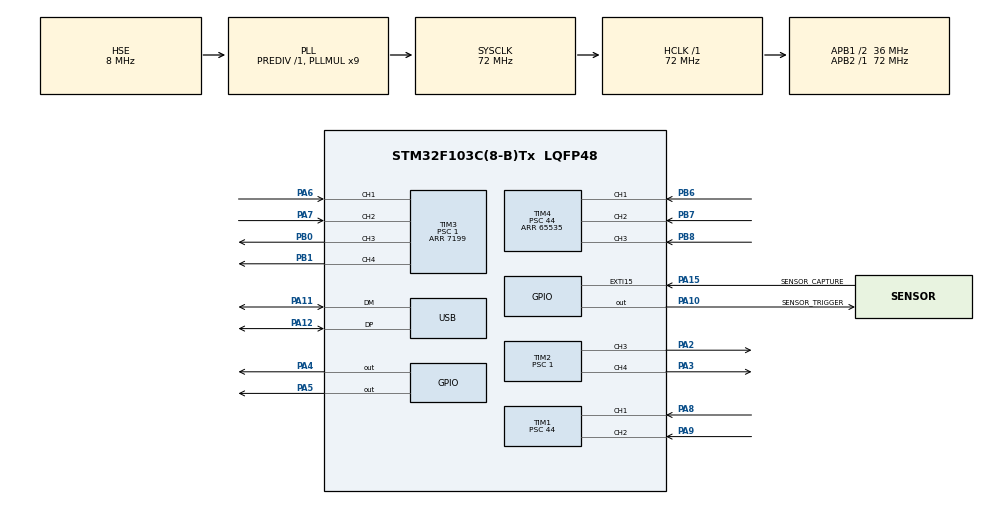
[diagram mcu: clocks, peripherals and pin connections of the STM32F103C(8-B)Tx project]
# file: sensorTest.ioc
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FREERTOS.INCLUDE_eTaskGetState=1
FREERTOS.INCLUDE_pcTaskGetTaskName=1
FREERTOS.INCLUDE_uxTaskGetStackHighWaterMark=1
FREERTOS.INCLUDE_vTaskDelayUntil=1
FREERTOS.INCLUDE_xQueueGetMutexHolder=1
FREERTOS.INCLUDE_xSemaphoreGetMutexHolder=1
FREERTOS.INCLUDE_xTaskAbortDelay=1
FREERTOS.INCLUDE_xTaskGetCurrentTaskHandle=1
FREERTOS.INCLUDE_xTaskGetHandle=1
FREERTOS.Tasks01=motorResults,0,64,StartLogTask,Default,NULL,Dynamic,NULL,NULL;pwmControl,-3,64,StartPWMTask,Default,NULL,Dynamic,NULL,NULL
FREERTOS.configMINIMAL_STACK_SIZE=64
FREERTOS.configTICK_RATE_HZ=100
FREERTOS.configUSE_CO_ROUTINES=0
Mcu.Family=STM32F1
Mcu.Name=STM32F103C(8-B)Tx
Mcu.Package=LQFP48
NVIC.EXTI15_10_IRQn=true\:5\:0\:false\:false\:true\:true\:true
NVIC.PriorityGroup=NVIC_PRIORITYGROUP_4
NVIC.TIM4_IRQn=true\:5\:0\:false\:false\:true\:true\:true
NVIC.USB_LP_CAN1_RX0_IRQn=true\:5\:0\:false\:false\:true\:true\:false
PA10.GPIO_Label=SENSOR_TRIGGER
PA10.Signal=GPIO_Output
PA11.Mode=Device
PA11.Signal=USB_DM
PA12.Mode=Device
PA12.Signal=USB_DP
PA13.Mode=Serial_Wire
PA13.Signal=SYS_JTMS-SWDIO
PA14.Mode=Serial_Wire
PA14.Signal=SYS_JTCK-SWCLK
PA15.GPIO_Label=SENSOR_CAPTURE
PA15.GPIO_ModeDefaultEXTI=GPIO_MODE_IT_RISING
PA15.Signal=GPXTI15
PA2.Signal=S_TIM2_CH3
PA3.Signal=S_TIM2_CH4
PA4.Signal=GPIO_Output
PA5.Signal=GPIO_Output
PA6.Signal=S_TIM3_CH1
PA7.Signal=S_TIM3_CH2
PA8.Signal=S_TIM1_CH1
PA9.Signal=S_TIM1_CH2
PB0.Signal=S_TIM3_CH3
PB1.Signal=S_TIM3_CH4
PB6.Signal=S_TIM4_CH1
PB7.Signal=S_TIM4_CH2
PB8.Signal=S_TIM4_CH3
PD0-OSC_IN.Mode=HSE-External-Oscillator
PD0-OSC_IN.Signal=RCC_OSC_IN
PD1-OSC_OUT.Mode=HSE-External-Oscillator
PD1-OSC_OUT.Signal=RCC_OSC_OUT
ProjectManager.HeapSize=0x200
ProjectManager.StackSize=0x400
ProjectManager.TargetToolchain=TrueSTUDIO
RCC.AHBFreq_Value=72000000
RCC.APB1CLKDivider=RCC_HCLK_DIV2
RCC.APB1Freq_Value=36000000
RCC.APB1TimFreq_Value=72000000
RCC.APB2Freq_Value=72000000
RCC.APB2TimFreq_Value=72000000
RCC.HCLKFreq_Value=72000000
RCC.PLLMUL=RCC_PLL_MUL9
RCC.PLLSourceVirtual=RCC_PLLSOURCE_HSE
RCC.SYSCLKFreq_VALUE=72000000
RCC.SYSCLKSource=RCC_SYSCLKSOURCE_PLLCLK
RCC.USBFreq_Value=48000000
RCC.USBPrescaler=RCC_USBCLKSOURCE_PLL_DIV1_5
SH.S_TIM1_CH1.0=TIM1_CH1,Input_Capture1_from_TI1
SH.S_TIM1_CH2.0=TIM1_CH2,Input_Capture2_from_TI2
SH.S_TIM2_CH3.0=TIM2_CH3,PWM Generation3 CH3
SH.S_TIM2_CH4.0=TIM2_CH4,PWM Generation4 CH4
SH.S_TIM3_CH1.0=TIM3_CH1,Encoder_Interface
SH.S_TIM3_CH2.0=TIM3_CH2,Encoder_Interface
SH.S_TIM3_CH3.0=TIM3_CH3,PWM Generation3 CH3
SH.S_TIM3_CH4.0=TIM3_CH4,PWM Generation4 CH4
SH.S_TIM4_CH1.0=TIM4_CH1,Input_Capture1_from_TI1
SH.S_TIM4_CH2.0=TIM4_CH2,Input_Capture2_from_TI2
SH.S_TIM4_CH3.0=TIM4_CH3,Input_Capture3_from_TI3
TIM1.Channel-Input_Capture1_from_TI1=TIM_CHANNEL_1
TIM1.Channel-Input_Capture2_from_TI2=TIM_CHANNEL_2
TIM1.ICFilter_CH1=10
TIM1.ICFilter_CH2=10
TIM1.ICPolarity_CH1=TIM_INPUTCHANNELPOLARITY_FALLING
TIM1.ICPolarity_CH2=TIM_INPUTCHANNELPOLARITY_FALLING
TIM1.Period=65535
TIM1.Prescaler=44
TIM2.Channel-PWM\ Generation3\ CH3=TIM_CHANNEL_3
TIM2.Channel-PWM\ Generation4\ CH4=TIM_CHANNEL_4
TIM2.Period=7199
TIM2.Prescaler=1
TIM3.Channel-PWM\ Generation3\ CH3=TIM_CHANNEL_3
TIM3.Channel-PWM\ Generation4\ CH4=TIM_CHANNEL_4
TIM3.Period=7199
TIM3.Prescaler=1
TIM4.Channel-Input_Capture1_from_TI1=TIM_CHANNEL_1
TIM4.Channel-Input_Capture2_from_TI2=TIM_CHANNEL_2
TIM4.Channel-Input_Capture3_from_TI3=TIM_CHANNEL_3
TIM4.Channel-PWM\ Generation4\ No\ Output=TIM_CHANNEL_4
TIM4.ICFilter_CH1=10
TIM4.ICFilter_CH3=10
TIM4.ICPolarity_CH1=TIM_INPUTCHANNELPOLARITY_FALLING
TIM4.ICPolarity_CH2=TIM_INPUTCHANNELPOLARITY_FALLING
TIM4.ICPolarity_CH3=TIM_INPUTCHANNELPOLARITY_FALLING
TIM4.Period=65535
TIM4.Prescaler=44
TIM4.Pulse-PWM\ Generation4\ No\ Output=16
USB_DEVICE.CLASS_NAME_FS=CDC
USB_DEVICE.VirtualMode=Cdc
USB_DEVICE.VirtualModeFS=Cdc_FS
VP_FREERTOS_VS_ENABLE.Mode=Enabled
VP_TIM4_VS_no_output4.Mode=PWM Generation4 No Output
VP_USB_DEVICE_VS_USB_DEVICE_CDC_FS.Mode=CDC_FS
board=custom

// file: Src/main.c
/* USER CODE BEGIN Header */
/**
 ******************************************************************************
 * @file           : main.c
 * @brief          : Main program body
 ******************************************************************************
 * This notice applies to any and all portions of this file
 * that are not between comment pairs USER CODE BEGIN and
 * USER CODE END. Other portions of this file, whether
 * inserted by the user or by software development tools
 * are owned by their respective copyright owners.
 *
 * Copyright (c) 2018 STMicroelectronics International N.V.
 * All rights reserved.
 *
 * Redistribution and use in source and binary forms, with or without
 * modification, are permitted, provided that the following conditions are met:
 *
 * 1. Redistribution of source code must retain the above copyright notice,
 *    this list of conditions and the following disclaimer.
 * 2. Redistributions in binary form must reproduce the above copyright notice,
 *    this list of conditions and the following disclaimer in the documentation
 *    and/or other materials provided with the distribution.
 * 3. Neither the name of STMicroelectronics nor the names of other
 *    contributors to this software may be used to endorse or promote products
 *    derived from this software without specific written permission.
 * 4. This software, including modifications and/or derivative works of this
 *    software, must execute solely and exclusively on microcontroller or
 *    microprocessor devices manufactured by or for STMicroelectronics.
 * 5. Redistribution and use of this software other than as permitted under
 *    this license is void and will automatically terminate your rights under
 *    this license.
 *
 * THIS SOFTWARE IS PROVIDED BY STMICROELECTRONICS AND CONTRIBUTORS "AS IS"
 * AND ANY EXPRESS, IMPLIED OR STATUTORY WARRANTIES, INCLUDING, BUT NOT
 * LIMITED TO, THE IMPLIED WARRANTIES OF MERCHANTABILITY, FITNESS FOR A
 * PARTICULAR PURPOSE AND NON-INFRINGEMENT OF THIRD PARTY INTELLECTUAL PROPERTY
 * RIGHTS ARE DISCLAIMED TO THE FULLEST EXTENT PERMITTED BY LAW. IN NO EVENT
 * SHALL STMICROELECTRONICS OR CONTRIBUTORS BE LIABLE FOR ANY DIRECT, INDIRECT,
 * INCIDENTAL, SPECIAL, EXEMPLARY, OR CONSEQUENTIAL DAMAGES (INCLUDING, BUT NOT
 * LIMITED TO, PROCUREMENT OF SUBSTITUTE GOODS OR SERVICES; LOSS OF USE, DATA,
 * OR PROFITS; OR BUSINESS INTERRUPTION) HOWEVER CAUSED AND ON ANY THEORY OF
 * LIABILITY, WHETHER IN CONTRACT, STRICT LIABILITY, OR TORT (INCLUDING
 * NEGLIGENCE OR OTHERWISE) ARISING IN ANY WAY OUT OF THE USE OF THIS SOFTWARE,
 * EVEN IF ADVISED OF THE POSSIBILITY OF SUCH DAMAGE.
 *
 ******************************************************************************
 */
/* USER CODE END Header */

#include "main.h"
#include "cmsis_os.h"
#include "tim.h"
#include "usb_device.h"
#include "gpio.h"

/* USER CODE BEGIN Includes */
#include "usbd_cdc_if.h"
#include "stm32f1xx_hal.h"
#include "dataHelp.h"

/* USER CODE END Includes */

/* USER CODE BEGIN PV */
/* Private variables ---------------------------------------------------------*/

volatile int32_t encoder;
volatile int32_t sample;
volatile int32_t sampleOld;

volatile SerialInput command;

uint32_t startTime;
uint32_t sampleTime;
volatile Data dataOut;
/* USER CODE END PV */

void SystemClock_Config(void);
void MX_FREERTOS_Init(void);
/* USER CODE BEGIN PFP */
/* Private function prototypes -----------------------------------------------*/

/* USER CODE END PFP */

int main(void)
{

	/* MCU Configuration--------------------------------------------------------*/

	/* Reset of all peripherals, Initializes the Flash interface and the Systick. */
	HAL_Init();

	/* Configure the system clock */
	SystemClock_Config();

	/* Initialize all configured peripherals */
	MX_GPIO_Init();
	MX_TIM4_Init();
	MX_TIM1_Init();
	MX_TIM2_Init();
	MX_TIM3_Init();
	/* USER CODE BEGIN 2 */
	HAL_TIM_Base_Start_IT(&htim4);

	HAL_GPIO_WritePin(SENSOR_TRIGGER_GPIO_Port, SENSOR_TRIGGER_Pin, GPIO_PIN_RESET);
	HAL_TIM_IC_Init(&htim1);
	HAL_TIM_IC_Init(&htim4);

	HAL_TIM_IC_Start(&htim1,TIM_CHANNEL_1);
	HAL_TIM_IC_Start(&htim1,TIM_CHANNEL_2);
	HAL_TIM_IC_Start(&htim4,TIM_CHANNEL_1);
	HAL_TIM_IC_Start(&htim4,TIM_CHANNEL_2);
	HAL_TIM_IC_Start(&htim4,TIM_CHANNEL_3);

	HAL_TIM_PWM_Init(&htim4);
	//  HAL_TIM_PWM_Start_IT(&htim4,TIM_CHANNEL_4);

	/* Init for motor and encoder */
	HAL_TIM_PWM_Init(&htim2);
	HAL_TIM_PWM_Init(&htim3);
	HAL_TIM_PWM_Start(&htim2,TIM_CHANNEL_3);
	HAL_TIM_PWM_Start(&htim2,TIM_CHANNEL_4);
	HAL_TIM_PWM_Start(&htim3,TIM_CHANNEL_3);
	HAL_TIM_PWM_Start(&htim3,TIM_CHANNEL_4);
	/* USER CODE END 2 */

	/* Call init function for freertos objects (in freertos.c) */
	MX_FREERTOS_Init();

	/* Start scheduler */
	osKernelStart();

	/* We should never get here as control is now taken by the scheduler */

	/* Infinite loop */
	while (1)
	{

	}
}

void SystemClock_Config(void)
{
	RCC_OscInitTypeDef RCC_OscInitStruct = {0};
	RCC_ClkInitTypeDef RCC_ClkInitStruct = {0};
	RCC_PeriphCLKInitTypeDef PeriphClkInit = {0};

	/**Initializes the CPU, AHB and APB busses clocks
	 */
	RCC_OscInitStruct.OscillatorType = RCC_OSCILLATORTYPE_HSE;
	RCC_OscInitStruct.HSEState = RCC_HSE_ON;
	RCC_OscInitStruct.HSEPredivValue = RCC_HSE_PREDIV_DIV1;
	RCC_OscInitStruct.HSIState = RCC_HSI_ON;
	RCC_OscInitStruct.PLL.PLLState = RCC_PLL_ON;
	RCC_OscInitStruct.PLL.PLLSource = RCC_PLLSOURCE_HSE;
	RCC_OscInitStruct.PLL.PLLMUL = RCC_PLL_MUL9;
	if (HAL_RCC_OscConfig(&RCC_OscInitStruct) != HAL_OK)
	{
		Error_Handler();
	}
	/**Initializes the CPU, AHB and APB busses clocks
	 */
	RCC_ClkInitStruct.ClockType = RCC_CLOCKTYPE_HCLK|RCC_CLOCKTYPE_SYSCLK
			|RCC_CLOCKTYPE_PCLK1|RCC_CLOCKTYPE_PCLK2;
	RCC_ClkInitStruct.SYSCLKSource = RCC_SYSCLKSOURCE_PLLCLK;
	RCC_ClkInitStruct.AHBCLKDivider = RCC_SYSCLK_DIV1;
	RCC_ClkInitStruct.APB1CLKDivider = RCC_HCLK_DIV2;
	RCC_ClkInitStruct.APB2CLKDivider = RCC_HCLK_DIV1;

	if (HAL_RCC_ClockConfig(&RCC_ClkInitStruct, FLASH_LATENCY_2) != HAL_OK)
	{
		Error_Handler();
	}
	PeriphClkInit.PeriphClockSelection = RCC_PERIPHCLK_USB;
	PeriphClkInit.UsbClockSelection = RCC_USBCLKSOURCE_PLL_DIV1_5;
	if (HAL_RCCEx_PeriphCLKConfig(&PeriphClkInit) != HAL_OK)
	{
		Error_Handler();
	}
}

/* USER CODE BEGIN 4 */
void HAL_TIM_PWM_PulseFinishedCallback(TIM_HandleTypeDef *htim) {
	if (htim->Instance == htim4.Instance
			&&__HAL_TIM_GET_COMPARE(&htim4,TIM_CHANNEL_4) == 16) {
		HAL_GPIO_WritePin(SENSOR_TRIGGER_GPIO_Port,SENSOR_TRIGGER_Pin,GPIO_PIN_RESET);

		HAL_TIM_PWM_Stop_IT(&htim4,TIM_CHANNEL_4);
		__HAL_TIM_SET_COMPARE(&htim4,TIM_CHANNEL_4,0);
	}
	else if (htim->Instance == htim4.Instance
			&&__HAL_TIM_GET_COMPARE(&htim4,TIM_CHANNEL_4) == 65535) {

		dataOut.time = sizeof(Data);
		dataOut.position1 = -1;
		dataOut.position2 = -1;
		dataOut.distance[0] = htim1.Instance->CCR1;
		dataOut.distance[1] = htim1.Instance->CCR2;
		dataOut.distance[2] = htim4.Instance->CCR1;
		dataOut.distance[3] = htim4.Instance->CCR2;
		dataOut.distance[4] = htim4.Instance->CCR3;

		CDC_Transmit_FS((uint8_t *)&dataOut,sizeof(dataOut));

		HAL_TIM_PWM_Stop_IT(&htim4,TIM_CHANNEL_4);;
		__HAL_TIM_SET_COMPARE(&htim4,TIM_CHANNEL_4,16);
	}
}

void HAL_GPIO_EXTI_Callback(uint16_t GPIO_Pin)
{
	__HAL_TIM_SET_COUNTER(&htim1,0);
	__HAL_TIM_SET_COUNTER(&htim4,0);

	__HAL_TIM_SET_COMPARE(&htim4,TIM_CHANNEL_4,65535);
	HAL_TIM_PWM_Start_IT(&htim4,TIM_CHANNEL_4);
}
/* USER CODE END 4 */

void Error_Handler(void)
{
	while(1)
	{
	}
}

/************************ (C) COPYRIGHT STMicroelectronics *****END OF FILE****/

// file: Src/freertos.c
/* USER CODE BEGIN Header */
/**
  ******************************************************************************
  * File Name          : freertos.c
  * Description        : Code for freertos applications
  ******************************************************************************
  * This notice applies to any and all portions of this file
  * that are not between comment pairs USER CODE BEGIN and
  * USER CODE END. Other portions of this file, whether
  * inserted by the user or by software development tools
  * are owned by their respective copyright owners.
  *
  * Copyright (c) 2018 STMicroelectronics International N.V.
  * All rights reserved.
  *
  * Redistribution and use in source and binary forms, with or without
  * modification, are permitted, provided that the following conditions are met:
  *
  * 1. Redistribution of source code must retain the above copyright notice,
  *    this list of conditions and the following disclaimer.
  * 2. Redistributions in binary form must reproduce the above copyright notice,
  *    this list of conditions and the following disclaimer in the documentation
  *    and/or other materials provided with the distribution.
  * 3. Neither the name of STMicroelectronics nor the names of other
  *    contributors to this software may be used to endorse or promote products
  *    derived from this software without specific written permission.
  * 4. This software, including modifications and/or derivative works of this
  *    software, must execute solely and exclusively on microcontroller or
  *    microprocessor devices manufactured by or for STMicroelectronics.
  * 5. Redistribution and use of this software other than as permitted under
  *    this license is void and will automatically terminate your rights under
  *    this license.
  *
  * THIS SOFTWARE IS PROVIDED BY STMICROELECTRONICS AND CONTRIBUTORS "AS IS"
  * AND ANY EXPRESS, IMPLIED OR STATUTORY WARRANTIES, INCLUDING, BUT NOT
  * LIMITED TO, THE IMPLIED WARRANTIES OF MERCHANTABILITY, FITNESS FOR A
  * PARTICULAR PURPOSE AND NON-INFRINGEMENT OF THIRD PARTY INTELLECTUAL PROPERTY
  * RIGHTS ARE DISCLAIMED TO THE FULLEST EXTENT PERMITTED BY LAW. IN NO EVENT
  * SHALL STMICROELECTRONICS OR CONTRIBUTORS BE LIABLE FOR ANY DIRECT, INDIRECT,
  * INCIDENTAL, SPECIAL, EXEMPLARY, OR CONSEQUENTIAL DAMAGES (INCLUDING, BUT NOT
  * LIMITED TO, PROCUREMENT OF SUBSTITUTE GOODS OR SERVICES; LOSS OF USE, DATA,
  * OR PROFITS; OR BUSINESS INTERRUPTION) HOWEVER CAUSED AND ON ANY THEORY OF
  * LIABILITY, WHETHER IN CONTRACT, STRICT LIABILITY, OR TORT (INCLUDING
  * NEGLIGENCE OR OTHERWISE) ARISING IN ANY WAY OUT OF THE USE OF THIS SOFTWARE,
  * EVEN IF ADVISED OF THE POSSIBILITY OF SUCH DAMAGE.
  *
  ******************************************************************************
  */
/* USER CODE END Header */

#include "FreeRTOS.h"
#include "task.h"
#include "main.h"
#include "cmsis_os.h"

/* USER CODE BEGIN Includes */
#include "usbd_cdc_if.h"
#include "stm32f1xx_hal.h"
#include "dataHelp.h"

/* USER CODE END Includes */

/* USER CODE BEGIN Variables */
extern volatile SerialInput command;
extern TIM_HandleTypeDef htim1;
extern TIM_HandleTypeDef htim2;
extern TIM_HandleTypeDef htim3;
extern TIM_HandleTypeDef htim4;

extern char stringOut[40];
extern volatile int32_t encoder;
extern volatile int32_t sample;
extern volatile int32_t sampleOld;

extern volatile int16_t pwmOutput;
extern volatile SerialInput command;

extern uint32_t startTime;
extern uint32_t sampleTime;
extern Data dataOut;

/* USER CODE END Variables */
osThreadId motorResultsHandle;
osThreadId pwmControlHandle;

void StartLogTask(void const * argument);
void StartPWMTask(void const * argument);

extern void MX_USB_DEVICE_Init(void);
void MX_FREERTOS_Init(void); /* (MISRA C 2004 rule 8.1) */

void MX_FREERTOS_Init(void) {

  /* Create the thread(s) */
  /* definition and creation of motorResults */
  osThreadDef(motorResults, StartLogTask, osPriorityNormal, 0, 64);
  motorResultsHandle = osThreadCreate(osThread(motorResults), NULL);

  /* definition and creation of pwmControl */
  osThreadDef(pwmControl, StartPWMTask, osPriorityIdle, 0, 64);
  pwmControlHandle = osThreadCreate(osThread(pwmControl), NULL);

}

void StartLogTask(void const * argument)
{
  /* init code for USB_DEVICE */
  MX_USB_DEVICE_Init();

  /* USER CODE BEGIN StartLogTask */
	uint32_t notifyValue;
	TickType_t xLastWakeTime;
	const TickType_t xPeriod = pdMS_TO_TICKS( 100 );
	xLastWakeTime = xTaskGetTickCount();
	/* Infinite loop */
	for(;;)
	{
		xTaskNotifyWait(pdFALSE, Sensor_Start, &notifyValue, portMAX_DELAY);

		if ((notifyValue & Sensor_Start) == Sensor_Start) {
			notifyValue = 0;
			xLastWakeTime = xTaskGetTickCount();
			while (1) {
				vTaskDelayUntil( &xLastWakeTime, xPeriod );
				HAL_GPIO_WritePin(SENSOR_TRIGGER_GPIO_Port,SENSOR_TRIGGER_Pin,GPIO_PIN_SET);
				HAL_TIM_PWM_Start_IT(&htim4,TIM_CHANNEL_4);
				xTaskNotifyWait(pdFALSE, Sensor_Stop, &notifyValue, 1);
				if ((notifyValue & Sensor_Stop) == Sensor_Stop)
					break;
			}
		}
	}
  /* USER CODE END StartLogTask */
}

void StartPWMTask(void const * argument)
{
  /* USER CODE BEGIN StartPWMTask */
	/* Infinite loop */
	for (;;) {
		ulTaskNotifyTake(pdTRUE,portMAX_DELAY);
		SerialInput output = command;

		if (output.PWM_INPUT1 >= 0) {
			__HAL_TIM_SET_COMPARE(&htim2, TIM_CHANNEL_3, MIN(output.PWM_INPUT1, maxPeriod));
			__HAL_TIM_SET_COMPARE(&htim2, TIM_CHANNEL_4, 0);
		} else {
			__HAL_TIM_SET_COMPARE(&htim2, TIM_CHANNEL_3, 0);
			__HAL_TIM_SET_COMPARE(&htim2, TIM_CHANNEL_4,
					MIN(abs(output.PWM_INPUT1), maxPeriod));
		}

		if (output.PWM_INPUT2 >= 0) {
			__HAL_TIM_SET_COMPARE(&htim3, TIM_CHANNEL_3, MIN(output.PWM_INPUT2, maxPeriod));
			__HAL_TIM_SET_COMPARE(&htim3, TIM_CHANNEL_4, 0);
		} else {
			__HAL_TIM_SET_COMPARE(&htim3, TIM_CHANNEL_3, 0);
			__HAL_TIM_SET_COMPARE(&htim3, TIM_CHANNEL_4,
					MIN(abs(output.PWM_INPUT2), maxPeriod));
		}
	}
  /* USER CODE END StartPWMTask */
}

/************************ (C) COPYRIGHT STMicroelectronics *****END OF FILE****/
